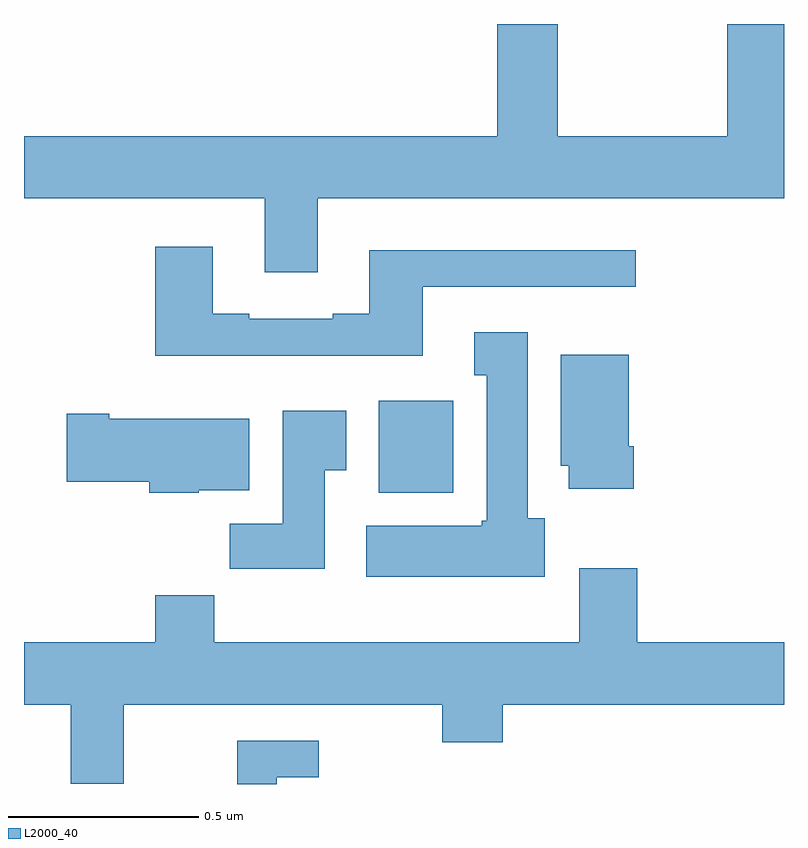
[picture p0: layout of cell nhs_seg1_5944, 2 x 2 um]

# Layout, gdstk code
import gdstk
lib = gdstk.Library(unit=1e-6, precision=1e-09)
def R(c, l, rs):  # rectangles x0, y0, x1, y1
    for r in rs: c.add(gdstk.rectangle(r[:2], r[2:], *l))
def P(c, l, *ps):  # polygons
    for p in ps: c.add(gdstk.Polygon(p, *l))
L2000_40 = (2000, 40)

nhs_seg1_5944 = lib.new_cell('nhs_seg1_5944')
R(nhs_seg1_5944, L2000_40, [(185.933,542.966,186.13,543.208)])
P(nhs_seg1_5944, L2000_40, [(185.773,543.74),(187,543.74),(187,544.199),(186.85,544.199),(186.85,543.904),(186.405,543.904),(186.405,544.199),(186.245,544.199),(186.245,543.904),(185,543.904),(185,543.74),(185.633,543.74),(185.633,543.546),(185.773,543.546)],
  [(186.049,543.507),(186.61,543.507),(186.61,543.604),(185.909,543.604),(185.909,543.436),(185.813,543.436),(185.813,543.423),(185.593,543.423),(185.593,543.436),(185.497,543.436),(185.497,543.613),(185.345,543.613),(185.345,543.326),(186.049,543.326)],
  [(186.37,542.898),(186.325,542.898),(186.325,543.388),(186.185,543.388),(186.185,543.275),(186.218,543.275),(186.218,542.892),(186.205,542.892),(186.205,542.878),(185.901,542.878),(185.901,542.744),(186.37,542.744)],
  [(186.605,543.088),(186.592,543.088),(186.592,543.328),(186.413,543.328),(186.413,543.036),(186.434,543.036),(186.434,542.976),(186.605,542.976)],
  [(185.791,543.025),(185.848,543.025),(185.848,543.181),(185.681,543.181),(185.681,542.884),(185.542,542.884),(185.542,542.766),(185.791,542.766)],
  [(185.46,542.972),(185.593,542.972),(185.593,543.16),(185.224,543.16),(185.224,543.173),(185.112,543.173),(185.112,542.995),(185.33,542.995),(185.33,542.966),(185.46,542.966)],
  [(185.263,542.408),(186.1,542.408),(186.1,542.309),(186.26,542.309),(186.26,542.408),(187,542.408),(187,542.572),(186.614,542.572),(186.614,542.767),(186.461,542.767),(186.461,542.572),(185.501,542.572),(185.501,542.696),(185.345,542.696),(185.345,542.572),(185,542.572),(185,542.408),(185.123,542.408),(185.123,542.2),(185.263,542.2)],
  [(185.665,542.217),(185.776,542.217),(185.776,542.313),(185.561,542.313),(185.561,542.199),(185.665,542.199)])

lib.write_gds('nhs_seg1_5944.gds')
